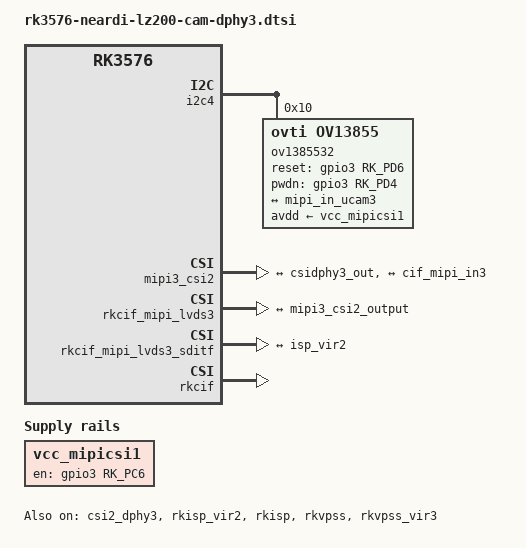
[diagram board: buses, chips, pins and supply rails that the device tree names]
/* dphy3 */
/* CAM2_RST GPIO3_D6 */
/* CAM2_PDN GPIO3_D4 */
/* CAM2_PWREN GPIO3_C6 */
&{/} {
	vcc_mipicsi1: vcc-mipicsi1-regulator {
		compatible = "regulator-fixed";
		gpio = <&gpio3 RK_PC6 GPIO_ACTIVE_HIGH>;
		pinctrl-names = "default";
		pinctrl-0 = <&mipicsi1_pwr>;
		regulator-name = "vcc_mipicsi1";
		enable-active-high;
	};
};

/* sensor2 --> csi2_dphy3 --> mipi3_csi2 --> rkcif_mipi_lvds3 */
/* rkcif_mipi_lvds3_sditf --> rkisp_vir2 */
&csi2_dphy3 {
	status = "okay";

	ports {
		#address-cells = <1>;
		#size-cells = <0>;
		port@0 {
			reg = <0>;
			#address-cells = <1>;
			#size-cells = <0>;

			mipi_in_ucam3: endpoint@3 {
				reg = <3>;
				remote-endpoint = <&ov13855_out3>;
				data-lanes = <1 2 3 4>;
			};
		};
		port@1 {
			reg = <1>;
			#address-cells = <1>;
			#size-cells = <0>;

			csidphy3_out: endpoint@0 {
				reg = <0>;
				remote-endpoint = <&mipi3_csi2_input>;
			};
		};
	};
};

&i2c4 {
	status = "okay";
	pinctrl-0 = <&i2c4m3_xfer>;

    ov1385532: ov13855@10 {
        compatible = "ovti,ov13855";
        status = "okay";
        reg = <0x10>;
        clocks = <&cru CLK_MIPI_CAMERAOUT_M2>;
        clock-names = "xvclk";
        power-domains = <&power RK3576_PD_VI>;
        pinctrl-names = "default";
        pinctrl-0 = <&cam_clk2m0_clk2
                     &cam2_pwdn
                     &cam2_rst>;
        //rockchip,grf = <&sys_grf>;
        reset-gpios = <&gpio3 RK_PD6 GPIO_ACTIVE_HIGH>;
        pwdn-gpios = <&gpio3 RK_PD4 GPIO_ACTIVE_HIGH>;
        avdd-supply = <&vcc_mipicsi1>;
        rockchip,camera-module-index = <0>;
        rockchip,camera-module-facing = "back";
        rockchip,camera-module-name = "CMK-OT2016-FV1";
        rockchip,camera-module-lens-name = "default";
        port {
            ov13855_out3: endpoint {
                remote-endpoint = <&mipi_in_ucam3>;
                data-lanes = <1 2 3 4>;
            };
        };
    };
};

&mipi3_csi2 {
	status = "okay";

	ports {
		#address-cells = <1>;
		#size-cells = <0>;

		port@0 {
			reg = <0>;
			#address-cells = <1>;
			#size-cells = <0>;

			mipi3_csi2_input: endpoint@1 {
				reg = <1>;
				remote-endpoint = <&csidphy3_out>;
			};
		};

		port@1 {
			reg = <1>;
			#address-cells = <1>;
			#size-cells = <0>;

			mipi3_csi2_output: endpoint@0 {
				reg = <0>;
				remote-endpoint = <&cif_mipi_in3>;
			};
		};
	};
};

&rkcif_mipi_lvds3 {
	status = "okay";

	port {
		cif_mipi_in3: endpoint {
			remote-endpoint = <&mipi3_csi2_output>;
		};
	};
};

&rkcif_mipi_lvds3_sditf {
	status = "okay";

	port {
		mipi3_lvds_sditf: endpoint {
			remote-endpoint = <&isp_vir2>;
		};
	};
};

&rkisp_vir2 {
	status = "okay";

	port {
		#address-cells = <1>;
		#size-cells = <0>;

		isp_vir2: endpoint@0 {
			reg = <0>;
			remote-endpoint = <&mipi3_lvds_sditf>;
		};
	};
};

&rkcif {
	status = "okay";
};

&rkcif_mmu {
	status = "okay";
};

&rkisp {
	status = "okay";
};

&rkisp_mmu {
	status = "okay";
};

&rkvpss {
	status = "okay";
};

&rkvpss_mmu {
	status = "okay";
};

&rkvpss_vir3 {
	status = "okay";
};

&pinctrl {
    cam2 {
       	mipicsi1_pwr: mipicsi1-pwr {
			rockchip,pins =
				/* camera power en */
				<3 RK_PC6 RK_FUNC_GPIO &pcfg_pull_none>;
		}; 

        cam2_rst: cam2_rst {
			rockchip,pins = 
				/* camera reset */
				<3 RK_PD6 RK_FUNC_GPIO &pcfg_pull_none>;
		};

		cam2_pwdn: cam2_pwdn {
			rockchip,pins = 
				/* camera power down */
				<3 RK_PD4 RK_FUNC_GPIO &pcfg_pull_none>;
		};
    };
};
